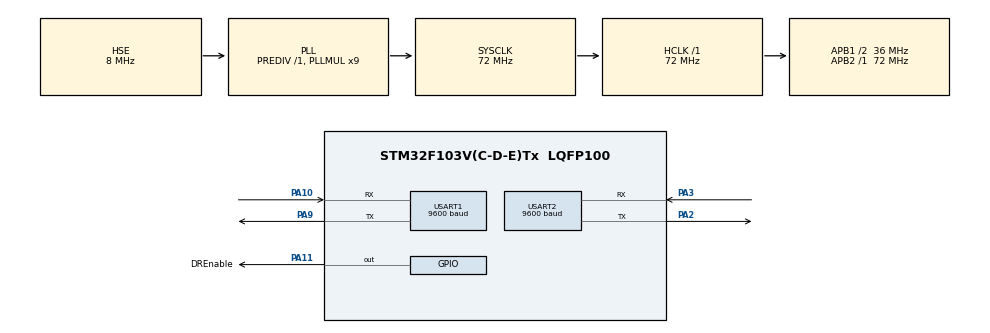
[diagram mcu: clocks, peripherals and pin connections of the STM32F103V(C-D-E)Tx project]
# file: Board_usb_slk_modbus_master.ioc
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Mcu.Family=STM32F1
Mcu.Name=STM32F103V(C-D-E)Tx
Mcu.Package=LQFP100
NVIC.PriorityGroup=NVIC_PRIORITYGROUP_4
NVIC.USART1_IRQn=true\:0\:0\:false\:false\:true\:true\:true\:true
OSC_IN.Mode=HSE-External-Oscillator
OSC_IN.Signal=RCC_OSC_IN
OSC_OUT.Mode=HSE-External-Oscillator
OSC_OUT.Signal=RCC_OSC_OUT
PA10.Mode=Asynchronous
PA10.Signal=USART1_RX
PA11.GPIO_Label=DREnable
PA11.Signal=GPIO_Output
PA13.Mode=Serial_Wire
PA13.Signal=SYS_JTMS-SWDIO
PA14.Mode=Serial_Wire
PA14.Signal=SYS_JTCK-SWCLK
PA2.Mode=Asynchronous
PA2.Signal=USART2_TX
PA3.Mode=Asynchronous
PA3.Signal=USART2_RX
PA9.Mode=Asynchronous
PA9.Signal=USART1_TX
ProjectManager.HeapSize=0x200
ProjectManager.StackSize=0x400
ProjectManager.TargetToolchain=STM32CubeIDE
RCC.AHBFreq_Value=72000000
RCC.APB1CLKDivider=RCC_HCLK_DIV2
RCC.APB1Freq_Value=36000000
RCC.APB1TimFreq_Value=72000000
RCC.APB2Freq_Value=72000000
RCC.APB2TimFreq_Value=72000000
RCC.HCLKFreq_Value=72000000
RCC.PLLMUL=RCC_PLL_MUL9
RCC.PLLSourceVirtual=RCC_PLLSOURCE_HSE
RCC.SYSCLKFreq_VALUE=72000000
RCC.SYSCLKSource=RCC_SYSCLKSOURCE_PLLCLK
RCC.USBFreq_Value=72000000
USART1.BaudRate=9600
USART1.VirtualMode=VM_ASYNC
USART2.BaudRate=9600
USART2.VirtualMode=VM_ASYNC
board=custom

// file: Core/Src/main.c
/* USER CODE BEGIN Header */
/**
 ******************************************************************************
 * @file           : main.c
 * @brief          : Main program body
 ******************************************************************************
 * @attention
 *
 * Copyright (c) 2025 STMicroelectronics.
 * All rights reserved.
 *
 * This software is licensed under terms that can be found in the LICENSE file
 * in the root directory of this software component.
 * If no LICENSE file comes with this software, it is provided AS-IS.
 *
 ******************************************************************************
 */
/* USER CODE END Header */
#include "main.h"

/* USER CODE BEGIN Includes */
#include "modbus.h"
#include "flashmemory.h"
#include <stdlib.h>
#include <stdio.h>
/* USER CODE END Includes */

/* USER CODE BEGIN PD */
#define MODBUS_SILENT_PERIOD_MS 4  // 3.5 символа при 9600 бод ≈ 4 мс
#define RESPONSE_TIMEOUT_MS 500    // Таймаут ожидания ответа (500 мс)
/* USER CODE END PD */

UART_HandleTypeDef huart1;
UART_HandleTypeDef huart2;

/* USER CODE BEGIN PV */
uint8_t request_buffer[MODBUS_MAX_ADU_SIZE];
uint16_t req_length;

volatile uint32_t time_from_last_rxint = 0;

uint8_t rx_buffer[256];                // Буфер для приема данных
volatile uint8_t rx_real_size = 0;
volatile uint8_t func_code = 0;
volatile uint8_t rx_index = 0;

volatile uint8_t response_received = 0;  // Флаг завершения приема ответа
volatile uint32_t response_timer = 0;    // Таймер для отслеживания таймаута
/* USER CODE END PV */

void SystemClock_Config(void);
static void MX_GPIO_Init(void);
static void MX_USART1_UART_Init(void);
static void MX_USART2_UART_Init(void);
/* USER CODE BEGIN PFP */
void Send_Message(void);
void PrintHexArray8(const uint8_t *array, int length);
void PrintHexArray16(const uint16_t *array, int length);
/* USER CODE END PFP */

int main(void) {

	/* MCU Configuration--------------------------------------------------------*/

	/* Reset of all peripherals, Initializes the Flash interface and the Systick. */
	HAL_Init();

	/* Configure the system clock */
	SystemClock_Config();

	/* Initialize all configured peripherals */
	MX_GPIO_Init();
	MX_USART1_UART_Init();
	MX_USART2_UART_Init();
	/* USER CODE BEGIN 2 */

	time_from_last_rxint = HAL_GetTick();

	HAL_UART_Receive_IT(&huart1, rx_buffer, MODBUS_MIN_ADU_SIZE);

	// Начальная отправка команд
	//    uint8_t coils_data[] = { 0xCD, 0x01 }; // 11001101 00000001 (10 бит)
	//    ModbusFrame fc0f = { .slave_id = 1, .function_code = FC_WRITE_MULT_COILS, .address = 20, .quantity = 10, .data = coils_data, .data_length = 2 };
	//    modbus_create_request(&fc0f, request_buffer, &req_length);
	//    send_message();
	//    while (!response_received && (HAL_GetTick() - response_timer < RESPONSE_TIMEOUT_MS)); // Ожидание ответа
	//    response_received = 0;
	//
	//    uint8_t regs_data[] = { 0x00, 0x0A, 0x00, 0x0B, 0x00, 0x0C }; // 10, 11, 12
	//    ModbusFrame fc10 = { .slave_id = 1, .function_code = FC_WRITE_MULT_REG, .address = 10, .quantity = 3, .data = regs_data, .data_length = 6 };
	//    modbus_create_request(&fc10, request_buffer, &req_length);
	//    send_message();
	//    while (!response_received && (HAL_GetTick() - response_timer < RESPONSE_TIMEOUT_MS)); // Ожидание ответа
	//    response_received = 0;

	/* USER CODE END 2 */

	/* Infinite loop */
	while (1) {

		/* USER CODE BEGIN 3 */

		// 15. Write Multiple Coils (FC 0F)
		uint8_t coils_data_loop[] = { 0xCD, 0x01 };
		ModbusFrame fc0f_loop = { .slave_id = 1, .function_code = FC_WRITE_MULT_COILS, .address = 20, .quantity = 10, .data = coils_data_loop,
				.data_length = 2 };
		modbus_create_request(&fc0f_loop, request_buffer, &req_length);
		Send_Message();
		while (!response_received && (HAL_GetTick() - response_timer < RESPONSE_TIMEOUT_MS)); // Ожидание ответа
		response_received = 0;

		// 16. Write Multiple Registers (FC 10)
		uint8_t regs_data_loop[] = { 0x00, 0x0A, 0x00, 0x0B, 0x00, 0x0C };
		ModbusFrame fc10_loop = { .slave_id = 1, .function_code = FC_WRITE_MULT_REG, .address = 10, .quantity = 3, .data = regs_data_loop,
				.data_length = 6 };
		modbus_create_request(&fc10_loop, request_buffer, &req_length);
		Send_Message();
		while (!response_received && (HAL_GetTick() - response_timer < RESPONSE_TIMEOUT_MS)); // Ожидание ответа
		response_received = 0;

		// Проверка результата записи coils (FC 01)
		ModbusFrame fc01_check = { .slave_id = 1, .function_code = FC_READ_COILS, .address = 20, .quantity = 10, .data = NULL, .data_length = 0 };
		modbus_create_request(&fc01_check, request_buffer, &req_length);
		Send_Message();
		while (!response_received && (HAL_GetTick() - response_timer < RESPONSE_TIMEOUT_MS)); // Ожидание ответа
		response_received = 0;

		// Проверка результата записи регистров (FC 03)
		ModbusFrame fc03_check = { .slave_id = 1, .function_code = FC_READ_HOLDING_REG, .address = 10, .quantity = 3, .data = NULL, .data_length = 0 };
		modbus_create_request(&fc03_check, request_buffer, &req_length);
		Send_Message();
		while (!response_received && (HAL_GetTick() - response_timer < RESPONSE_TIMEOUT_MS)); // Ожидание ответа
		response_received = 0;

		HAL_Delay(1000); // Основная задержка между циклами
	}
	/* USER CODE END 3 */
}

void SystemClock_Config(void) {
	RCC_OscInitTypeDef RCC_OscInitStruct = { 0 };
	RCC_ClkInitTypeDef RCC_ClkInitStruct = { 0 };

	RCC_OscInitStruct.OscillatorType = RCC_OSCILLATORTYPE_HSE;
	RCC_OscInitStruct.HSEState = RCC_HSE_ON;
	RCC_OscInitStruct.HSEPredivValue = RCC_HSE_PREDIV_DIV1;
	RCC_OscInitStruct.HSIState = RCC_HSI_ON;
	RCC_OscInitStruct.PLL.PLLState = RCC_PLL_ON;
	RCC_OscInitStruct.PLL.PLLSource = RCC_PLLSOURCE_HSE;
	RCC_OscInitStruct.PLL.PLLMUL = RCC_PLL_MUL9;
	if (HAL_RCC_OscConfig(&RCC_OscInitStruct) != HAL_OK) {
		Error_Handler();
	}

	RCC_ClkInitStruct.ClockType = RCC_CLOCKTYPE_HCLK | RCC_CLOCKTYPE_SYSCLK | RCC_CLOCKTYPE_PCLK1 | RCC_CLOCKTYPE_PCLK2;
	RCC_ClkInitStruct.SYSCLKSource = RCC_SYSCLKSOURCE_PLLCLK;
	RCC_ClkInitStruct.AHBCLKDivider = RCC_SYSCLK_DIV1;
	RCC_ClkInitStruct.APB1CLKDivider = RCC_HCLK_DIV2;
	RCC_ClkInitStruct.APB2CLKDivider = RCC_HCLK_DIV1;

	if (HAL_RCC_ClockConfig(&RCC_ClkInitStruct, FLASH_LATENCY_2) != HAL_OK) {
		Error_Handler();
	}
}

static void MX_USART1_UART_Init(void) {
	huart1.Instance = USART1;
	huart1.Init.BaudRate = 9600;
	huart1.Init.WordLength = UART_WORDLENGTH_8B;
	huart1.Init.StopBits = UART_STOPBITS_1;
	huart1.Init.Parity = UART_PARITY_NONE;
	huart1.Init.Mode = UART_MODE_TX_RX;
	huart1.Init.HwFlowCtl = UART_HWCONTROL_NONE;
	huart1.Init.OverSampling = UART_OVERSAMPLING_16;
	if (HAL_UART_Init(&huart1) != HAL_OK) {
		Error_Handler();
	}
}

static void MX_USART2_UART_Init(void) {
	huart2.Instance = USART2;
	huart2.Init.BaudRate = 9600;
	huart2.Init.WordLength = UART_WORDLENGTH_8B;
	huart2.Init.StopBits = UART_STOPBITS_1;
	huart2.Init.Parity = UART_PARITY_NONE;
	huart2.Init.Mode = UART_MODE_TX_RX;
	huart2.Init.HwFlowCtl = UART_HWCONTROL_NONE;
	huart2.Init.OverSampling = UART_OVERSAMPLING_16;
	if (HAL_UART_Init(&huart2) != HAL_OK) {
		Error_Handler();
	}
}

static void MX_GPIO_Init(void) {
	GPIO_InitTypeDef GPIO_InitStruct = { 0 };

	__HAL_RCC_GPIOA_CLK_ENABLE();

	HAL_GPIO_WritePin(DREnable_GPIO_Port, DREnable_Pin, GPIO_PIN_RESET);

	GPIO_InitStruct.Pin = DREnable_Pin;
	GPIO_InitStruct.Mode = GPIO_MODE_OUTPUT_PP;
	GPIO_InitStruct.Pull = GPIO_NOPULL;
	GPIO_InitStruct.Speed = GPIO_SPEED_FREQ_LOW;
	HAL_GPIO_Init(DREnable_GPIO_Port, &GPIO_InitStruct);
}

/* USER CODE BEGIN 4 */

void HAL_UART_RxCpltCallback(UART_HandleTypeDef *huart) {
	if (huart == &huart1) {
		time_from_last_rxint = HAL_GetTick();
		if (func_code == 0) {
			rx_real_size = 0;
			func_code = rx_buffer[1];
			if (func_code == 0x01 || func_code == 0x02 || func_code == 0x03 || func_code == 0x04) {
				uint8_t ost_size = rx_buffer[2] - 1 + 2;
				rx_real_size = MODBUS_MIN_ADU_SIZE + ost_size;
				if (rx_real_size > sizeof(rx_buffer)) {
					func_code = 0;
					rx_real_size = 0;
					HAL_UART_Receive_IT(&huart1, rx_buffer, MODBUS_MIN_ADU_SIZE);
					return;
				}
				HAL_UART_Receive_IT(&huart1, &rx_buffer[MODBUS_MIN_ADU_SIZE], ost_size);
			} else if (func_code == 0x05 || func_code == 0x06 || func_code == 0x0F || func_code == 0x10) {
				uint8_t ost_size = 4;
				rx_real_size = ost_size + MODBUS_MIN_ADU_SIZE;
				HAL_UART_Receive_IT(&huart1, &rx_buffer[MODBUS_MIN_ADU_SIZE], ost_size);
			}
		} else {
			func_code = 0;

			printf("Reseived Response from slave: ");
			PrintHexArray8(rx_buffer, rx_real_size);

			uint16_t value_count;
			uint16_t *values = modbus_process_response_from_slave(rx_buffer, rx_real_size, &value_count);
			rx_real_size = 0;

			if (values != NULL) {
				printf("Reseived values from slave: ");
				PrintHexArray16(values, value_count);

				free(values);
			}

			response_received = 1; // Устанавливаем флаг завершения приема
			HAL_UART_Receive_IT(&huart1, rx_buffer, MODBUS_MIN_ADU_SIZE);
		}
	}
}

void Send_Message(void) {
	//    if (HAL_UART_GetState(&huart1) == HAL_UART_STATE_READY) {
	printf("Sending from master to slave: ");
	PrintHexArray8(request_buffer, req_length);
	HAL_GPIO_WritePin(GPIOA, DREnable_Pin, GPIO_PIN_SET);
	HAL_UART_Transmit(&huart1, request_buffer, req_length, 100);
	response_timer = HAL_GetTick(); // Запускаем таймер ожидания ответа
	HAL_GPIO_WritePin(GPIOA, DREnable_Pin, GPIO_PIN_RESET);
	HAL_UART_Receive_IT(&huart1, rx_buffer, MODBUS_MIN_ADU_SIZE);
	//    }
}

void PrintHexArray8(const uint8_t *array, int length) {
	for (int i = 0; i < length; i++) {
		printf("%02X ", array[i]); // %02X для HEX в верхнем регистре
	}
	printf("\n");
}

void PrintHexArray16(const uint16_t *array, int length) {
	for (uint16_t i = 0; i < length; i++) {
		printf("%04X ", array[i]); // Вывод uint16_t в HEX
	}
	printf("\n");
}

// Перенаправление printf в UART2
int _write(int file, uint8_t *ptr, int len) {  // Лучше использовать uint8_t*
	HAL_UART_Transmit(&huart2, ptr, len, HAL_MAX_DELAY);
	return len;
}
/* USER CODE END 4 */

void Error_Handler(void) {
	__disable_irq();
	while (1) {
	}
}

/* USER CODE BEGIN Header */
/**
 * @brief  Reports the name of the source file and the source line number
 *         where the assert_param error has occurred.
 * @param  file: pointer to the source file name
 * @param  line: assert_param error line source number
 * @retval None
 */
